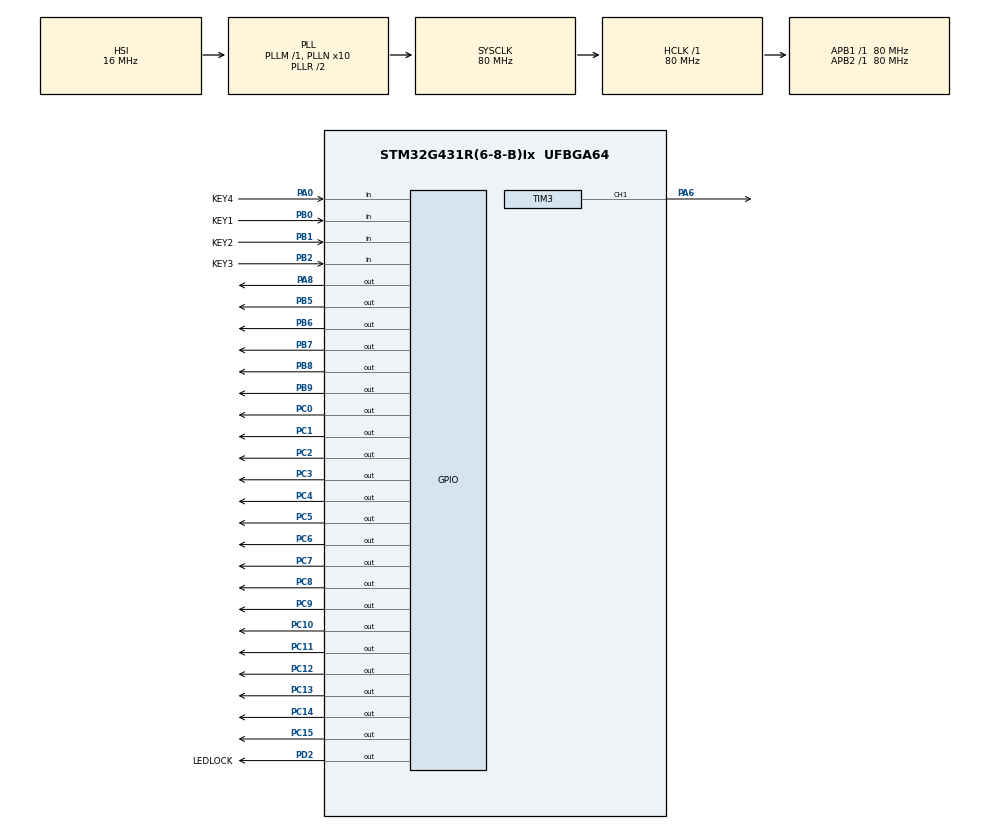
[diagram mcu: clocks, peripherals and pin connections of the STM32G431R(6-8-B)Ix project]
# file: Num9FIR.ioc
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Mcu.Family=STM32G4
Mcu.Name=STM32G431R(6-8-B)Ix
Mcu.Package=UFBGA64
NVIC.PriorityGroup=NVIC_PRIORITYGROUP_4
NVIC.TIM4_IRQn=true\:0\:0\:false\:false\:true\:true\:true
PA0.GPIO_Label=KEY4
PA0.Signal=GPIO_Input
PA6.Signal=S_TIM3_CH1
PA8.Signal=GPIO_Output
PB0.GPIO_Label=KEY1
PB0.Signal=GPIO_Input
PB1.GPIO_Label=KEY2
PB1.Signal=GPIO_Input
PB2.GPIO_Label=KEY3
PB2.Signal=GPIO_Input
PB5.Signal=GPIO_Output
PB6.Signal=GPIO_Output
PB7.Signal=GPIO_Output
PB8-BOOT0.Signal=GPIO_Output
PB9.Signal=GPIO_Output
PC0.Signal=GPIO_Output
PC1.Signal=GPIO_Output
PC10.Signal=GPIO_Output
PC11.Signal=GPIO_Output
PC12.Signal=GPIO_Output
PC13.Signal=GPIO_Output
PC14-OSC32_IN.Signal=GPIO_Output
PC15-OSC32_OUT.Signal=GPIO_Output
PC2.Signal=GPIO_Output
PC3.Signal=GPIO_Output
PC4.Signal=GPIO_Output
PC5.Signal=GPIO_Output
PC6.Signal=GPIO_Output
PC7.Signal=GPIO_Output
PC8.Signal=GPIO_Output
PC9.Signal=GPIO_Output
PD2.GPIO_Label=LEDLOCK
PD2.Signal=GPIO_Output
PF0-OSC_IN.Mode=HSE-External-Oscillator
PF0-OSC_IN.Signal=RCC_OSC_IN
PF1-OSC_OUT.Mode=HSE-External-Oscillator
PF1-OSC_OUT.Signal=RCC_OSC_OUT
ProjectManager.HeapSize=0x200
ProjectManager.StackSize=0x400
ProjectManager.TargetToolchain=MDK-ARM V5
RCC.ADC12Freq_Value=80000000
RCC.AHBFreq_Value=80000000
RCC.APB1Freq_Value=80000000
RCC.APB1TimFreq_Value=80000000
RCC.APB2Freq_Value=80000000
RCC.APB2TimFreq_Value=80000000
RCC.CortexFreq_Value=80000000
RCC.EXTERNAL_CLOCK_VALUE=12288000
RCC.HCLKFreq_Value=80000000
RCC.HSE_VALUE=8000000
RCC.HSI48_VALUE=48000000
RCC.HSI_VALUE=16000000
RCC.LSE_VALUE=32768
RCC.PLLN=10
RCC.SYSCLKFreq_VALUE=80000000
RCC.SYSCLKSource=RCC_SYSCLKSOURCE_PLLCLK
RCC.USBFreq_Value=80000000
RCC.VCOOutputFreq_Value=160000000
SH.S_TIM3_CH1.0=TIM3_CH1,PWM Generation1 CH1
TIM3.Channel-PWM\ Generation1\ CH1=TIM_CHANNEL_1
TIM3.OCPolarity_1=TIM_OCPOLARITY_LOW
TIM3.PeriodNoDither=1000
TIM3.Prescaler=80
TIM3.PulseNoDither_1=800
TIM4.PeriodNoDither=10000
TIM4.Prescaler=8000
VP_SYS_VS_DBSignals.Mode=DisableDeadBatterySignals
VP_TIM4_VS_ClockSourceINT.Mode=Internal
board=custom

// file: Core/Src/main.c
/* USER CODE BEGIN Header */
/**
  ******************************************************************************
  * @file           : main.c
  * @brief          : Main program body
  ******************************************************************************
  * @attention
  *
  * <h2><center>&copy; Copyright (c) 2021 STMicroelectronics.
  * All rights reserved.</center></h2>
  *
  * This software component is licensed by ST under BSD 3-Clause license,
  * the "License"; You may not use this file except in compliance with the
  * License. You may obtain a copy of the License at:
  *                        opensource.org/licenses/BSD-3-Clause
  *
  ******************************************************************************
  */
/* USER CODE END Header */
#include "main.h"
#include "tim.h"
#include "gpio.h"

/* USER CODE BEGIN Includes */

//第九届蓝桥杯省赛题
//制作人QQ:1317379456

/* USER CODE END Includes */

/* USER CODE BEGIN PTD */
static uint8_t B1_Num = 0;
static uint8_t B2_Setting = 0;	//设置中
static uint8_t B4_Star = 0 ;	//0 停止 1暂停 2运行

static uint8_t Hour = 0;	//时
static uint8_t Min  = 0;	//分
static uint8_t Sek  = 0;	//秒

static uint8_t TIME_MODE_HC = 0; //模式切换缓存
static uint8_t LCD_TEMP[20];

static uint8_t LED_1S = 2;
/* USER CODE END PTD */

/* USER CODE BEGIN PD */
void I2C_Wt(uint8_t num,uint8_t info);
uint8_t I2C_Read(uint8_t num);
static void LCD_Live(void);
static void TIME_Star(void);
static void LCD_Char(uint8_t num,uint16_t k);
static void LED_BLK(void);
/* USER CODE END PD */

void SystemClock_Config(void);
/* USER CODE BEGIN PFP */
void Key_Set(void)	//按键
{
	if(HAL_GPIO_ReadPin(KEY1_GPIO_Port,KEY1_Pin)==GPIO_PIN_RESET)
	{
		HAL_Delay(100);
		B1_Num ++;
		if(B1_Num>4){B1_Num=0;}
		Hour = I2C_Read(B1_Num*3);
		Min  = I2C_Read((B1_Num*3)+1);
		Sek  = I2C_Read((B1_Num*3)+2);
		if(Hour>24)Hour=0;if(Min>60)Min=0;if(Sek>60)Sek=0;
	}
	if(HAL_GPIO_ReadPin(KEY2_GPIO_Port,KEY2_Pin)==GPIO_PIN_RESET)
	{
		HAL_Delay(800);
		if(HAL_GPIO_ReadPin(KEY2_GPIO_Port,KEY2_Pin)==GPIO_PIN_RESET)
		{
			I2C_Wt(B1_Num*3,Hour);
			I2C_Wt((B1_Num*3)+1,Min);
			I2C_Wt((B1_Num*3)+2,Sek);
			B2_Setting = 0;
			LCD_Clear(White);
			HAL_Delay(200);
		}
		else{B2_Setting ++; if(B2_Setting >3){B2_Setting =0;}}
		LCD_Clear(White);
	}
	if(HAL_GPIO_ReadPin(KEY3_GPIO_Port,KEY3_Pin)==GPIO_PIN_RESET)
	{
		HAL_Delay(800);
		if(HAL_GPIO_ReadPin(KEY3_GPIO_Port,KEY3_Pin)==GPIO_PIN_RESET)
		{
			while(HAL_GPIO_ReadPin(KEY3_GPIO_Port,KEY3_Pin)==GPIO_PIN_RESET)
			{
					if(B2_Setting == 1){Hour++;}
					if(B2_Setting == 2){Min++;}
					if(B2_Setting == 3){Sek++;}
					if(Hour >24){Hour=0;}else if(Min>60){Min=0;}else if(Sek >60){Sek=0;}
					LCD_Live();
					HAL_Delay(100);

			}
		}
		else
		{
			if(B2_Setting == 1){Hour++;}
			if(B2_Setting == 2){Min++;}
			if(B2_Setting == 3){Sek++;}
			if(Hour >24){Hour=0;}if(Min>60){Min=0;}if(Sek >60){Sek=0;}
		}
	}
	if(HAL_GPIO_ReadPin(KEY4_GPIO_Port,KEY4_Pin)==GPIO_PIN_RESET)
	{
		HAL_Delay(800);
		if(HAL_GPIO_ReadPin(KEY4_GPIO_Port,KEY4_Pin)==GPIO_PIN_RESET)
		{
			B4_Star=0;
			LCD_Live();
			HAL_Delay(200);
		}
		else
		{
			if(B4_Star !=2){B4_Star=2;}else if(B4_Star == 2){B4_Star=1;}
			if(B2_Setting !=0){	B2_Setting=0;}
		}
		TIME_Star();
	}
}
static void LEDClear()	//清空LED
{

	HAL_GPIO_WritePin(LEDLOCK_GPIO_Port, LEDLOCK_Pin,GPIO_PIN_SET);	//锁存器开
  	HAL_GPIO_WritePin(GPIOC, GPIO_PIN_12|GPIO_PIN_13|GPIO_PIN_11|GPIO_PIN_14|GPIO_PIN_10|GPIO_PIN_15|GPIO_PIN_9|GPIO_PIN_8,GPIO_PIN_SET); //LED全部熄灭
	HAL_GPIO_WritePin(LEDLOCK_GPIO_Port, LEDLOCK_Pin,GPIO_PIN_RESET);//锁存器关

}
uint8_t I2C_Read(uint8_t num)	//I2C读
{
	uint8_t val = 0;
	I2CStart();
	I2CSendByte(0xa0);
	I2CWaitAck();

	I2CSendByte(num);
	I2CWaitAck();

	I2CStart();
	I2CSendByte(0xa1);
	I2CWaitAck();
	val = I2CReceiveByte();
	I2CWaitAck();
	I2CStop();
	HAL_Delay(50);
	return(val);

}

void I2C_Wt(uint8_t num,uint8_t info)		//I2C写
{
	I2CStart();
	I2CSendByte(0xa0);
	I2CWaitAck();

	I2CSendByte(num);
	I2CWaitAck();

	I2CSendByte(info);
	I2CWaitAck();

	I2CStop();
	HAL_Delay(50);
}

static void LCD_Live(void)	//LCD显示
{
	uint8_t B1_YE = B1_Num +1;
	if(B2_Setting == 0)
	{
		sprintf((char *)LCD_TEMP,"     NO.%d      ",B1_YE);
		LCD_DisplayStringLine(Line3,(uint8_t *)LCD_TEMP);
		sprintf((char *)LCD_TEMP,"     %d:%d:%d   ",Hour,Min,Sek);
		LCD_DisplayStringLine(Line5,(uint8_t *)LCD_TEMP);

	}
	else	if(B2_Setting == 1)
	{
		sprintf((char *)LCD_TEMP,"     NO.%d      ",B1_YE);
		LCD_DisplayStringLine(Line3,(uint8_t *)LCD_TEMP);
			LCD_SetBackColor(White);
			LCD_SetTextColor(Red);
		LCD_Char(Hour,1);
			LCD_SetBackColor(White);
			LCD_SetTextColor(Blue);
		LCD_Char(Min,2);
		LCD_Char(Sek,3);
	}
	else	if(B2_Setting == 2)
	{
		sprintf((char *)LCD_TEMP,"     NO.%d      ",B1_YE);
		LCD_DisplayStringLine(Line3,(uint8_t *)LCD_TEMP);
		LCD_Char(Hour,1);
			LCD_SetBackColor(White);
			LCD_SetTextColor(Red);
		LCD_Char(Min,2);
			LCD_SetBackColor(White);
			LCD_SetTextColor(Blue);
		LCD_Char(Sek,3);
	}
	else	if(B2_Setting == 3)
	{
		sprintf((char *)LCD_TEMP,"     NO.%d      ",B1_YE);
		LCD_DisplayStringLine(Line3,(uint8_t *)LCD_TEMP);
		LCD_Char(Hour,1);
		LCD_Char(Min,2);
			LCD_SetBackColor(White);
			LCD_SetTextColor(Red);
		LCD_Char(Sek,3);
			LCD_SetBackColor(White);
			LCD_SetTextColor(Blue);
	}
	if  (B2_Setting != 0)	{	LCD_DisplayStringLine(Line7,(uint8_t *)"     Setting    ");}
	else if	(B4_Star == 0)		{	LCD_DisplayStringLine(Line7,(uint8_t *)"     Standby    ");}
	else if	(B4_Star == 1)		{	LCD_DisplayStringLine(Line7,(uint8_t *)"     Pause      ");}
	else if	(B4_Star == 2)		{	LCD_DisplayStringLine(Line7,(uint8_t *)"     Running    ");}
}
static void TIME_Star()	//定时器运行
{
	if(TIME_MODE_HC != B4_Star)
	{
		TIME_MODE_HC = B4_Star;
		if(TIME_MODE_HC == 2)
		{
			HAL_TIM_PWM_Start(&htim3,TIM_CHANNEL_1);
			HAL_TIM_Base_Start_IT(&htim4);
			LED_1S = 0;
		}
		else
		{
			HAL_TIM_PWM_Stop(&htim3,TIM_CHANNEL_1);
			HAL_TIM_Base_Stop_IT(&htim4);
			LED_1S = 2;
			LED_BLK();
			LED_1S = 10;
		}
	}
}
static void LCD_Char(uint8_t num,uint16_t k)
{
	uint8_t num1=0,num2=0;

	if(num>=10){num1 = num/10%10+48;LCD_DisplayChar(Line5,319-(16*(2+k*3)),(uint8_t )num1);}
	else if(num<10)	{LCD_DisplayChar(Line5,319-(16*(2+k*3)),(uint8_t )32);}
	if(num>0)num2 = (num%10)+48;
	else if(num==0)num2 = 48;
	LCD_DisplayChar(Line5,319-(16*(3+k*3)),(uint8_t )num2);
	if(k!=3){LCD_DisplayChar(Line5,319-(16*(4+k*3)),58);}
}
static void time_star(void)
{
	if(Sek==0 && Min==0 && Hour==0){B4_Star = 0;}
	else if(Sek==0	&& Min!=0)
	  {
			Sek=60;
			Min--;
	  }
	if(Min==0 && Hour!=0)
	  {
		  	Min=60;
		    Hour--;
	  }
}
static void LED_BLK(void)
{
		if(LED_1S == 1)
		{
			HAL_GPIO_WritePin(LEDLOCK_GPIO_Port, LEDLOCK_Pin,GPIO_PIN_SET);	//锁存器开
			HAL_GPIO_WritePin(GPIOC,GPIO_PIN_8,GPIO_PIN_RESET);
			HAL_GPIO_WritePin(GPIOC,GPIO_PIN_12|GPIO_PIN_13|GPIO_PIN_11|GPIO_PIN_14|GPIO_PIN_10|GPIO_PIN_15|GPIO_PIN_9,GPIO_PIN_SET);
			HAL_GPIO_WritePin(LEDLOCK_GPIO_Port, LEDLOCK_Pin,GPIO_PIN_RESET);//锁存器关
			LED_1S = 5;
		}
		else if(LED_1S == 2)
		{
			HAL_GPIO_WritePin(LEDLOCK_GPIO_Port, LEDLOCK_Pin,GPIO_PIN_SET);	//锁存器开
			HAL_GPIO_WritePin(GPIOC,GPIO_PIN_12|GPIO_PIN_13|GPIO_PIN_11|GPIO_PIN_14|GPIO_PIN_10|GPIO_PIN_15|GPIO_PIN_9|GPIO_PIN_8,GPIO_PIN_SET);
			HAL_GPIO_WritePin(LEDLOCK_GPIO_Port, LEDLOCK_Pin,GPIO_PIN_RESET);//锁存器关
			LED_1S = 0;
		}
}
/* USER CODE END PFP */

int main(void)
{

  /* MCU Configuration--------------------------------------------------------*/

  /* Reset of all peripherals, Initializes the Flash interface and the Systick. */
  HAL_Init();

  /* Configure the system clock */
  SystemClock_Config();

  /* Initialize all configured peripherals */
  MX_GPIO_Init();
  MX_TIM3_Init();
  MX_TIM4_Init();
  /* USER CODE BEGIN 2 */
	LEDClear();
	LCD_Init();
	LCD_Clear(White);
	LCD_SetBackColor(White);
	LCD_SetTextColor(Blue);
	Hour = I2C_Read(0x00);
	Min  = I2C_Read(0x01);
	Sek  = I2C_Read(0x02);
  /* USER CODE END 2 */

  /* Infinite loop */
  /* USER CODE BEGIN WHILE */
  while (1)
  {
	  Key_Set();
	  LCD_Live();
	  LED_BLK();

    /* USER CODE END WHILE */

  }
}

void SystemClock_Config(void)
{
  RCC_OscInitTypeDef RCC_OscInitStruct = {0};
  RCC_ClkInitTypeDef RCC_ClkInitStruct = {0};

  /** Configure the main internal regulator output voltage
  */
  HAL_PWREx_ControlVoltageScaling(PWR_REGULATOR_VOLTAGE_SCALE1);
  /** Initializes the RCC Oscillators according to the specified parameters
  * in the RCC_OscInitTypeDef structure.
  */
  RCC_OscInitStruct.OscillatorType = RCC_OSCILLATORTYPE_HSI;
  RCC_OscInitStruct.HSIState = RCC_HSI_ON;
  RCC_OscInitStruct.HSICalibrationValue = RCC_HSICALIBRATION_DEFAULT;
  RCC_OscInitStruct.PLL.PLLState = RCC_PLL_ON;
  RCC_OscInitStruct.PLL.PLLSource = RCC_PLLSOURCE_HSI;
  RCC_OscInitStruct.PLL.PLLM = RCC_PLLM_DIV1;
  RCC_OscInitStruct.PLL.PLLN = 10;
  RCC_OscInitStruct.PLL.PLLP = RCC_PLLP_DIV2;
  RCC_OscInitStruct.PLL.PLLQ = RCC_PLLQ_DIV2;
  RCC_OscInitStruct.PLL.PLLR = RCC_PLLR_DIV2;
  if (HAL_RCC_OscConfig(&RCC_OscInitStruct) != HAL_OK)
  {
    Error_Handler();
  }
  /** Initializes the CPU, AHB and APB buses clocks
  */
  RCC_ClkInitStruct.ClockType = RCC_CLOCKTYPE_HCLK|RCC_CLOCKTYPE_SYSCLK
                              |RCC_CLOCKTYPE_PCLK1|RCC_CLOCKTYPE_PCLK2;
  RCC_ClkInitStruct.SYSCLKSource = RCC_SYSCLKSOURCE_PLLCLK;
  RCC_ClkInitStruct.AHBCLKDivider = RCC_SYSCLK_DIV1;
  RCC_ClkInitStruct.APB1CLKDivider = RCC_HCLK_DIV1;
  RCC_ClkInitStruct.APB2CLKDivider = RCC_HCLK_DIV1;

  if (HAL_RCC_ClockConfig(&RCC_ClkInitStruct, FLASH_LATENCY_2) != HAL_OK)
  {
    Error_Handler();
  }
}

/* USER CODE BEGIN 4 */
void HAL_TIM_PeriodElapsedCallback(TIM_HandleTypeDef *htim)
{
	if(htim->Instance == TIM4)
	{
		Sek--;
		time_star();
		if(LED_1S==0)LED_1S = 1;
		else if (LED_1S == 5)LED_1S=2;
	}

}
/* USER CODE END 4 */

void Error_Handler(void)
{
  __disable_irq();
  while (1)
  {
  }
}

/************************ (C) COPYRIGHT STMicroelectronics *****END OF FILE****/
